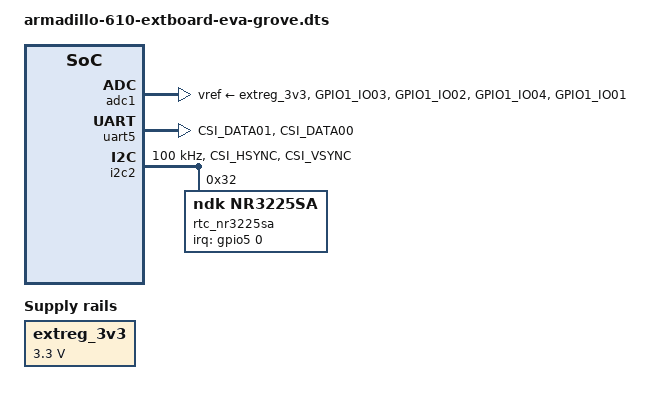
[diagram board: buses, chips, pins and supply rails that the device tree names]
/*
 * Copyright (C) 2020 Atmark Techno, Inc. All Rights Reserved.
 *
 * SPDX-License-Identifier: (GPL-2.0 OR MIT)
 */

#include "armadillo-610.dtsi"
#include "armadillo-610-extboard-eva-common.dtsi"

/ {
	extreg_3v3: ext-regulator-3v3 {
		compatible = "regulator-fixed";
		regulator-name = "3V3";
		regulator-min-microvolt = <3300000>;
		regulator-max-microvolt = <3300000>;
		regulator-always-on;
	};
};

&iomuxc {
	pinctrl_adc1: adc1grp {
		fsl,pins = <
			MX6UL_PAD_GPIO1_IO03__GPIO1_IO03 0xb0 // CON9_1
			MX6UL_PAD_GPIO1_IO02__GPIO1_IO02 0xb0 // CON9_2
			MX6UL_PAD_GPIO1_IO04__GPIO1_IO04 0xb0 // CON10_1
			MX6UL_PAD_GPIO1_IO01__GPIO1_IO01 0xb0 // CON10_2
		>;
	};

	pinctrl_i2c2: i2c2grp {
		fsl,pins = <
			MX6UL_PAD_CSI_HSYNC__I2C2_SCL 0x4001b8b0 // CON8_1
			MX6UL_PAD_CSI_VSYNC__I2C2_SDA 0x4001b8b0 // CON8_2
		>;
	};

	pinctrl_uart5: uart5grp {
		fsl,pins = <
			MX6UL_PAD_CSI_DATA01__UART5_DCE_RX 0x1b0b1 // CON7_1
			MX6UL_PAD_CSI_DATA00__UART5_DCE_TX 0x00008 // CON7_2
		>;
	};
};

&iomuxc_snvs {
	pinctrl_snvs_rtc_nr3225sa: snvs_rtcnr3225sagrp {
		fsl,pins = <
			MX6ULL_PAD_SNVS_TAMPER0__GPIO5_IO00 0x0b000
		>;
	};
};

&adc1 {
	pinctrl-names = "default";
	pinctrl-0 = <&pinctrl_adc1>;
	vref-supply = <&extreg_3v3>;
	status = "okay";
};

&uart5 {
	pinctrl-names = "default";
	pinctrl-0 = <&pinctrl_uart5>;
	status = "okay";
};

&i2c2 {
	pinctrl-names = "default";
	pinctrl-0 = <&pinctrl_i2c2>;
	clock-frequency = <100000>;
	status = "okay";

	rtc_nr3225sa: rtc-nr3225sa {
		pinctrl-names = "default";
		pinctrl-0 = <&pinctrl_snvs_rtc_nr3225sa>;

		compatible = "ndk,nr3225sa";
		reg = <0x32>;

		interrupt-parent = <&gpio5>;
		interrupts = <0 IRQ_TYPE_EDGE_FALLING>;
	};
};
